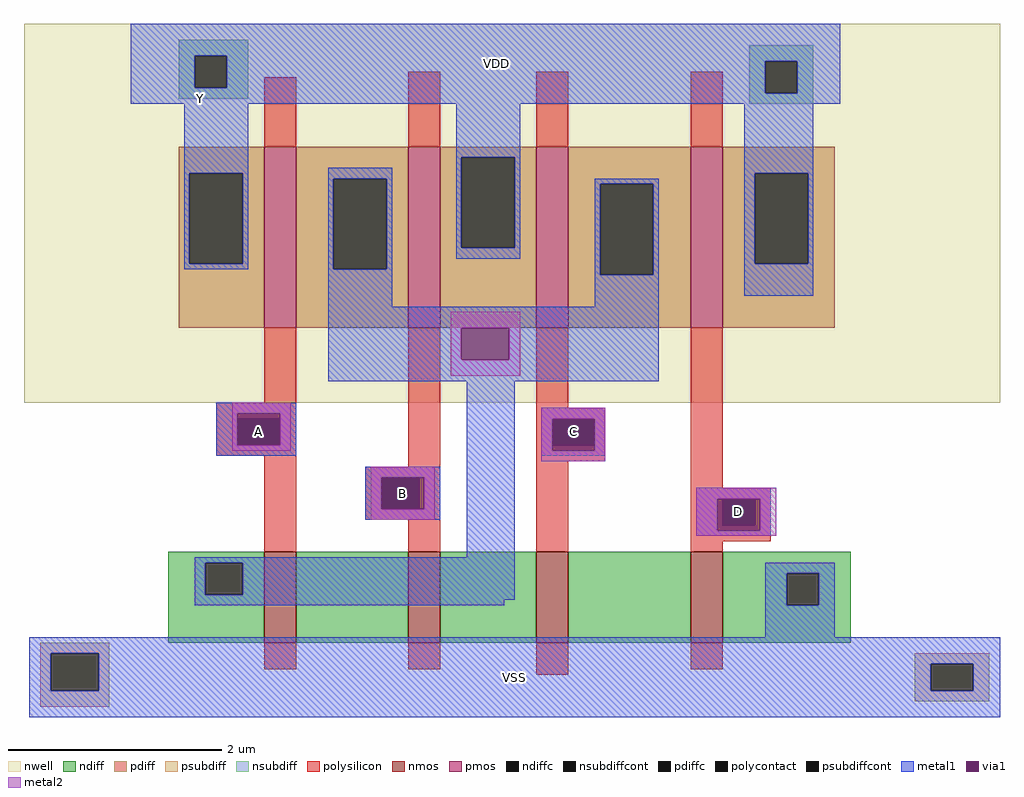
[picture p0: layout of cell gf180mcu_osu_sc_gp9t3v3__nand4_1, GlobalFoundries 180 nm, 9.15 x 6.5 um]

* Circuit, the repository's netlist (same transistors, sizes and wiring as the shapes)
* Copyright 2022 Google LLC
*
* Licensed under the Apache License, Version 2.0 (the "License");
* you may not use this file except in compliance with the License.
* You may obtain a copy of the License at
*
*      http://www.apache.org/licenses/LICENSE-2.0
*
* Unless required by applicable law or agreed to in writing, software
* distributed under the License is distributed on an "AS IS" BASIS,
* WITHOUT WARRANTIES OR CONDITIONS OF ANY KIND, either express or implied.
* See the License for the specific language governing permissions and
* limitations under the License.

* NGSPICE file created from gf180mcu_osu_sc_gp9t3v3__nand4_1.ext - technology: gf180mcuD

.subckt gf180mcu_osu_sc_gp9t3v3__nand4_1 A B C D Y VDD VSS

X0 Y A VDD VDD pfet_03v3 W=1.70000U L=0.300000U
X1 Y B VDD VDD pfet_03v3 W=1.70000U L=0.300000U
X2 Y C VDD VDD pfet_03v3 W=1.70000U L=0.300000U
X3 Y D VDD VDD pfet_03v3 W=1.70000U L=0.300000U
X4 Y A net1 VSS nfet_03v3 W=0.850000U L=0.300000U
X5 net1 B net2 VSS nfet_03v3 W=0.850000U L=0.300000U
X6 net2 C net3 VSS nfet_03v3 W=0.850000U L=0.300000U
X7 net3 D VSS VSS nfet_03v3 W=0.850000U L=0.300000U

.ends

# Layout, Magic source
magic
tech gf180mcuD
<< nwell >>
rect -33 -57 150 14
<< nmos >>
rect 12 -102 18 -85
rect 39 -102 45 -85
rect 63 -102 69 -85
rect 92 -102 98 -85
<< pmos >>
rect 12 -43 18 -9
rect 39 -43 45 -9
rect 63 -43 69 -9
rect 92 -43 98 -9
<< ndiff >>
rect -6 -87 12 -85
rect -6 -93 1 -87
rect 8 -93 12 -87
rect -6 -102 12 -93
rect 18 -102 39 -85
rect 45 -102 63 -85
rect 69 -102 92 -85
rect 98 -89 122 -85
rect 98 -95 110 -89
rect 116 -95 122 -89
rect 98 -102 122 -95
<< pdiff >>
rect -4 -14 12 -9
rect -4 -31 -2 -14
rect 8 -31 12 -14
rect -4 -43 12 -31
rect 18 -15 39 -9
rect 18 -32 25 -15
rect 35 -32 39 -15
rect 18 -43 39 -32
rect 45 -11 63 -9
rect 45 -28 49 -11
rect 59 -28 63 -11
rect 45 -43 63 -28
rect 69 -16 92 -9
rect 69 -33 75 -16
rect 85 -33 92 -16
rect 69 -43 92 -33
rect 98 -14 119 -9
rect 98 -31 104 -14
rect 114 -31 119 -14
rect 98 -43 119 -31
<< ndiffc >>
rect 1 -93 8 -87
rect 110 -95 116 -89
<< pdiffc >>
rect -2 -31 8 -14
rect 25 -32 35 -15
rect 49 -28 59 -11
rect 75 -33 85 -16
rect 104 -31 114 -14
<< psubdiff >>
rect -30 -104 -17 -102
rect -30 -111 -28 -104
rect -19 -111 -17 -104
rect 134 -106 148 -104
rect -30 -114 -17 -111
rect 134 -111 137 -106
rect 145 -111 148 -106
rect 134 -113 148 -111
<< nsubdiff >>
rect -4 8 9 11
rect -4 2 -1 8
rect 5 2 9 8
rect 103 7 115 10
rect -4 0 9 2
rect 103 1 106 7
rect 112 1 115 7
rect 103 -1 115 1
<< psubdiffcont >>
rect -28 -111 -19 -104
rect 137 -111 145 -106
<< nsubdiffcont >>
rect -1 2 5 8
rect 106 1 112 7
<< polysilicon >>
rect 12 -9 18 4
rect 39 -9 45 5
rect 63 -9 69 5
rect 92 -9 98 5
rect 12 -57 18 -43
rect 3 -60 18 -57
rect 3 -65 7 -60
rect 15 -65 18 -60
rect 3 -67 18 -65
rect 12 -85 18 -67
rect 39 -69 45 -43
rect 31 -71 45 -69
rect 31 -77 34 -71
rect 41 -77 45 -71
rect 31 -79 45 -77
rect 39 -85 45 -79
rect 63 -58 69 -43
rect 63 -60 76 -58
rect 63 -65 66 -60
rect 74 -65 76 -60
rect 63 -68 76 -65
rect 63 -85 69 -68
rect 92 -73 98 -43
rect 92 -75 107 -73
rect 92 -80 98 -75
rect 104 -80 107 -75
rect 92 -83 107 -80
rect 92 -85 98 -83
rect 12 -107 18 -102
rect 39 -107 45 -102
rect 63 -108 69 -102
rect 92 -107 98 -102
<< polycontact >>
rect 7 -65 15 -60
rect 34 -77 41 -71
rect 66 -65 74 -60
rect 98 -80 104 -75
<< metal1 >>
rect -13 8 120 14
rect -13 2 -1 8
rect 5 7 120 8
rect 5 2 106 7
rect -13 1 106 2
rect 112 1 120 7
rect -13 -1 120 1
rect -3 -14 9 -1
rect 48 -11 60 -1
rect -3 -31 -2 -14
rect 8 -31 9 -14
rect -3 -32 9 -31
rect 24 -15 36 -13
rect 24 -32 25 -15
rect 35 -32 36 -15
rect 48 -28 49 -11
rect 59 -28 60 -11
rect 102 -14 115 -1
rect 48 -30 60 -28
rect 74 -16 86 -15
rect 24 -39 36 -32
rect 74 -33 75 -16
rect 85 -33 86 -16
rect 74 -39 86 -33
rect 102 -31 104 -14
rect 114 -31 115 -14
rect 102 -37 115 -31
rect 24 -43 86 -39
rect 24 -49 49 -43
rect 58 -49 86 -43
rect 24 -53 86 -49
rect 3 -59 18 -57
rect 3 -65 7 -59
rect 15 -65 18 -59
rect 3 -67 18 -65
rect 31 -71 45 -69
rect 31 -77 34 -71
rect 42 -77 45 -71
rect 31 -79 45 -77
rect 50 -86 59 -53
rect 64 -60 76 -58
rect 64 -66 66 -60
rect 74 -66 76 -60
rect 64 -67 76 -66
rect 93 -75 107 -73
rect 93 -81 97 -75
rect 105 -81 107 -75
rect 93 -82 107 -81
rect -1 -87 59 -86
rect -1 -93 1 -87
rect 8 -93 59 -87
rect -1 -94 59 -93
rect 106 -89 119 -87
rect -1 -95 57 -94
rect 106 -95 110 -89
rect 116 -95 119 -89
rect 106 -101 119 -95
rect -32 -104 150 -101
rect -32 -111 -28 -104
rect -19 -106 150 -104
rect -19 -111 137 -106
rect 145 -111 150 -106
rect -32 -116 150 -111
<< via1 >>
rect 49 -49 58 -43
rect 7 -60 15 -59
rect 7 -65 15 -60
rect 34 -77 41 -71
rect 41 -77 42 -71
rect 66 -65 74 -60
rect 66 -66 74 -65
rect 97 -80 98 -75
rect 98 -80 104 -75
rect 104 -80 105 -75
rect 97 -81 105 -80
<< metal2 >>
rect 47 -43 60 -40
rect 47 -49 49 -43
rect 58 -49 60 -43
rect 47 -52 60 -49
rect 6 -59 17 -57
rect 6 -65 7 -59
rect 15 -65 17 -59
rect 6 -66 17 -65
rect 64 -60 76 -58
rect 64 -66 66 -60
rect 74 -66 76 -60
rect 64 -68 76 -66
rect 32 -71 44 -69
rect 32 -77 34 -71
rect 42 -77 44 -71
rect 32 -79 44 -77
rect 93 -75 108 -73
rect 93 -81 97 -75
rect 105 -81 108 -75
rect 93 -82 108 -81
<< labels >>
rlabel metal1 5 -1 106 14 0 VDD
rlabel metal1 -19 -116 137 -101 0 VSS
rlabel metal1 0 0 0 0 0 Y
rlabel polycontact 7 -65 15 -60 0 A
rlabel polysilicon 34 -77 42 -71 0 B
rlabel polycontact 66 -65 74 -60 0 C
rlabel polycontact 98 -80 104 -75 0 D
<< end >>
